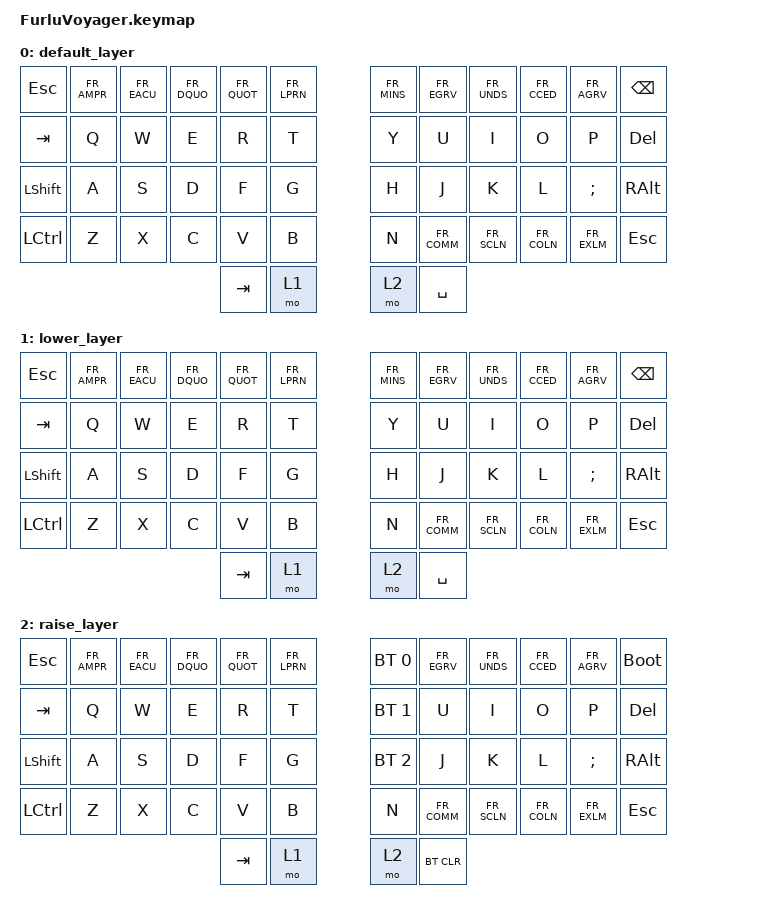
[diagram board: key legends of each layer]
#include <behaviors.dtsi>
#include <dt-bindings/zmk/keys.h>
#include <dt-bindings/zmk/bt.h>
#include "keymap_french.h"

/ {
    keymap {
        compatible = "zmk,keymap";

        default_layer {
            bindings = <
                &kp ESC      &kp FR_AMPR    &kp FR_EACU     &kp FR_DQUO     &kp FR_QUOT &kp FR_LPRN                     &kp FR_MINS     &kp FR_EGRV  &kp FR_UNDS  &kp FR_CCED  &kp FR_AGRV  &kp BSPC                    
                &kp TAB      &kp Q          &kp W           &kp E           &kp R       &kp T                           &kp Y           &kp U        &kp I        &kp O        &kp P        &kp DEL
                &kp LSHIFT   &kp A          &kp S           &kp D           &kp F       &kp G                           &kp H           &kp J        &kp K        &kp L        &kp SEMI     &kp RALT
                &kp LCTRL    &kp Z          &kp X           &kp C           &kp V       &kp B                           &kp N           &kp FR_COMM  &kp FR_SCLN  &kp FR_COLN  &kp FR_EXLM  &kp ESC
                                                                            &kp TAB     &mo 1                           &mo 2           &kp SPACE
                >;
        };
        lower_layer {
            bindings = <
                &kp ESC      &kp FR_AMPR    &kp FR_EACU     &kp FR_DQUO     &kp FR_QUOT &kp FR_LPRN                     &kp FR_MINS     &kp FR_EGRV  &kp FR_UNDS  &kp FR_CCED  &kp FR_AGRV  &kp BSPC                    
                &kp TAB      &kp Q          &kp W           &kp E           &kp R       &kp T                           &kp Y           &kp U        &kp I        &kp O        &kp P        &kp DEL
                &kp LSHIFT   &kp A          &kp S           &kp D           &kp F       &kp G                           &kp H           &kp J        &kp K        &kp L        &kp SEMI     &kp RALT
                &kp LCTRL    &kp Z          &kp X           &kp C           &kp V       &kp B                           &kp N           &kp FR_COMM  &kp FR_SCLN  &kp FR_COLN  &kp FR_EXLM  &kp ESC
                                                                            &kp TAB     &mo 1                           &mo 2           &kp SPACE
                >;
        };

        raise_layer {
            bindings = <
                &kp ESC      &kp FR_AMPR    &kp FR_EACU     &kp FR_DQUO     &kp FR_QUOT &kp FR_LPRN                     &bt BT_SEL 0    &kp FR_EGRV  &kp FR_UNDS  &kp FR_CCED  &kp FR_AGRV  &bootloader                    
                &kp TAB      &kp Q          &kp W           &kp E           &kp R       &kp T                           &bt BT_SEL 1    &kp U        &kp I        &kp O        &kp P        &kp DEL
                &kp LSHIFT   &kp A          &kp S           &kp D           &kp F       &kp G                           &bt BT_SEL 2    &kp J        &kp K        &kp L        &kp SEMI     &kp RALT
                &kp LCTRL    &kp Z          &kp X           &kp C           &kp V       &kp B                           &kp N           &kp FR_COMM  &kp FR_SCLN  &kp FR_COLN  &kp FR_EXLM  &kp ESC
                                                                            &kp TAB     &mo 1                           &mo 2           &bt BT_CLR
                >;
        };      
    };
};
